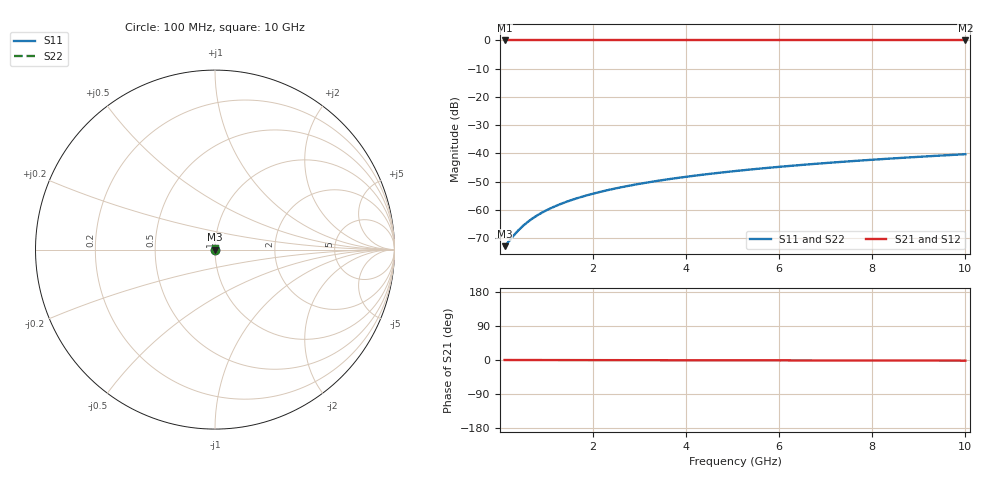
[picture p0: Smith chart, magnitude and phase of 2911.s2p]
# Hz S RI R 50.00
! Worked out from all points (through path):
!   100 points, 100 MHz to 10 GHz, reference 50 ohm
!   highest |S21| = 0.00 dB at 100 MHz (marker M1); lowest = 0.0 dB at 10 GHz (marker M2)
!   lowest |S11| = -72.9 dB at 100 MHz (marker M3), VSWR 1.00, Z = 50 + j0.0096 ohm
!   |S11| at or under -10 dB: start of sweep to end of sweep
!   |S22| runs from -72.9 to -40.3 dB; largest |S21 - S12| = 0
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1e8  0.000206 9.59e-05  0.9998 -0.000285  0.9998 -0.000285  0.000206 9.59e-05
3e8  0.000208 0.000288  0.9998 -0.000855  0.9998 -0.000855  0.000208 0.000288
4e8  0.000209 0.000384  0.9998 -0.00114  0.9998 -0.00114  0.000209 0.000384
5e8  0.00021 0.00048  0.9998 -0.00142  0.9998 -0.00142  0.00021 0.00048
6e8  0.000211 0.000576  0.9998 -0.00171  0.9998 -0.00171  0.000211 0.000576
7e8  0.000212 0.000671  0.9998 -0.00199  0.9998 -0.00199  0.000212 0.000671
8e8  0.000213 0.000767  0.9998 -0.00228  0.9998 -0.00228  0.000213 0.000767
1e9  0.000214 0.000959  0.9998 -0.00285  0.9998 -0.00285  0.000214 0.000959
1.2e9  0.000216 0.00115  0.9998 -0.00342  0.9998 -0.00342  0.000216 0.00115
1.5e9  0.000219 0.00144  0.9998 -0.00428  0.9998 -0.00428  0.000219 0.00144
1.8e9  0.000223 0.00173  0.9998 -0.00513  0.9998 -0.00513  0.000223 0.00173
2.1e9  0.000227 0.00201  0.9998 -0.00599  0.9998 -0.00599  0.000227 0.00201
2.5e9  0.000232 0.0024  0.9998 -0.00713  0.9998 -0.00713  0.000232 0.0024
2.9e9  0.000239 0.00278  0.9997 -0.00827  0.9997 -0.00827  0.000239 0.00278
3.4e9  0.000249 0.00326  0.9997 -0.0097  0.9997 -0.0097  0.000249 0.00326
4.2e9  0.000266 0.00403  0.9997 -0.012  0.9997 -0.012  0.000266 0.00403
5.1e9  0.000291 0.0049  0.9997 -0.0146  0.9997 -0.0146  0.000291 0.0049
5.9e9  0.000316 0.00567  0.9996 -0.0169  0.9996 -0.0169  0.000316 0.00567
6.7e9  0.000345 0.00644  0.9996 -0.0192  0.9996 -0.0192  0.000345 0.00644
7.5e9  0.000378 0.00721  0.9995 -0.0215  0.9995 -0.0215  0.000378 0.00721
8.4e9  0.000419 0.00809  0.9994 -0.0241  0.9994 -0.0241  0.000419 0.00809
1e10  0.000503 0.00965  0.9993 -0.0287  0.9993 -0.0287  0.000503 0.00965
